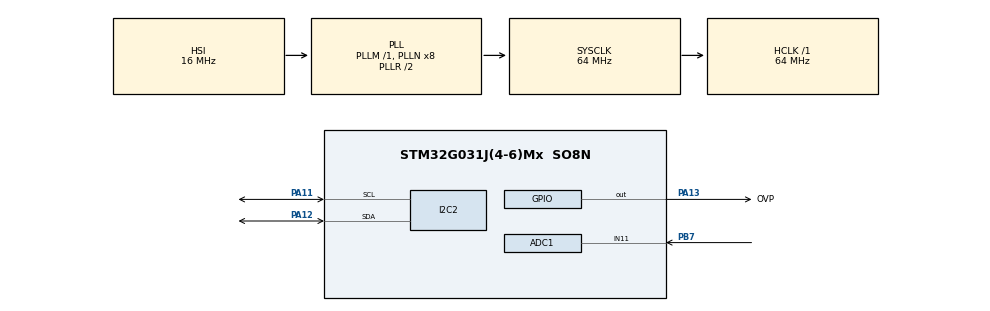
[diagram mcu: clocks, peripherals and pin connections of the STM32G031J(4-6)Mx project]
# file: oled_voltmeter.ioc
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ADC1.Channel-16\#ChannelRegularConversion=ADC_CHANNEL_11
ADC1.ContinuousConvMode=ENABLE
ADC1.DMAContinuousRequests=ENABLE
ADC1.NbrOfConversionFlag=1
ADC1.Rank-16\#ChannelRegularConversion=1
ADC1.SamplingTime-16\#ChannelRegularConversion=ADC_SAMPLINGTIME_COMMON_1
ADC1.SamplingTimeCommon1=ADC_SAMPLETIME_160CYCLES_5
ADC1.SelectedChannel=ADC_CHANNEL_11
ADC1.master=1
Dma.ADC1.0.Direction=DMA_PERIPH_TO_MEMORY
Dma.ADC1.0.EventEnable=DISABLE
Dma.ADC1.0.Instance=DMA1_Channel1
Dma.ADC1.0.MemDataAlignment=DMA_MDATAALIGN_HALFWORD
Dma.ADC1.0.MemInc=DMA_MINC_ENABLE
Dma.ADC1.0.Mode=DMA_CIRCULAR
Dma.ADC1.0.PeriphDataAlignment=DMA_PDATAALIGN_HALFWORD
Dma.ADC1.0.PeriphInc=DMA_PINC_DISABLE
Dma.ADC1.0.Polarity=HAL_DMAMUX_REQ_GEN_RISING
Dma.ADC1.0.Priority=DMA_PRIORITY_LOW
Dma.ADC1.0.RequestNumber=1
Dma.ADC1.0.SignalID=NONE
Dma.ADC1.0.SyncEnable=DISABLE
Dma.ADC1.0.SyncPolarity=HAL_DMAMUX_SYNC_NO_EVENT
Dma.ADC1.0.SyncRequestNumber=1
Dma.ADC1.0.SyncSignalID=NONE
Dma.Request0=ADC1
I2C2.Timing=0x10707DBC
Mcu.Family=STM32G0
Mcu.Name=STM32G031J(4-6)Mx
Mcu.Package=SO8N
NVIC.DMA1_Channel1_IRQn=true\:0\:0\:false\:false\:true\:false\:true
PA11\ [PA9].Mode=I2C
PA11\ [PA9].Signal=I2C2_SCL
PA12\ [PA10].Mode=I2C
PA12\ [PA10].Signal=I2C2_SDA
PA13.GPIO_Label=OVP
PA13.Signal=GPIO_Output
PB7.Mode=IN11
PB7.Signal=ADC1_IN11
ProjectManager.HeapSize=0x200
ProjectManager.StackSize=0x400
ProjectManager.TargetToolchain=STM32CubeIDE
RCC.ADCFreq_Value=64000000
RCC.AHBFreq_Value=64000000
RCC.CortexFreq_Value=64000000
RCC.EXTERNAL_CLOCK_VALUE=12288000
RCC.HCLKFreq_Value=64000000
RCC.HSE_VALUE=8000000
RCC.HSI_VALUE=16000000
RCC.LSE_VALUE=32768
RCC.SYSCLKFreq_VALUE=64000000
RCC.SYSCLKSource=RCC_SYSCLKSOURCE_PLLCLK
RCC.VCOOutputFreq_Value=128000000
board=custom

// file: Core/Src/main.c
/* USER CODE BEGIN Header */
/**
  ******************************************************************************
  * @file           : main.c
  * @brief          : Main program body
  ******************************************************************************
  * @attention
  *
  * Copyright (c) 2021 STMicroelectronics.
  * All rights reserved.
  *
  * This software is licensed under terms that can be found in the LICENSE file
  * in the root directory of this software component.
  * If no LICENSE file comes with this software, it is provided AS-IS.
  *
  ******************************************************************************
  */
/* USER CODE END Header */
#include "main.h"

/* USER CODE BEGIN Includes */
#include "ssd1306.h"

//#include <stdbool.h>
//#include <string.h>
#include "printf.h"

/* USER CODE END Includes */

/* USER CODE BEGIN PD */
#define ADC_BUF_LEN 64
#define VOLT_MULT_MV 6.0225757710425736 // measured at 5998mv
#define VOLT_RAW_A 1019.25 // measured at 5998mv
#define VOLT_RAW_B 2978.5 // measured at 17950mv

#define VOLT_SLOPE (5998 - 17950)/(VOLT_RAW_A - VOLT_RAW_B)
#define VOLT_OFFSET (5998 - VOLT_RAW_A*VOLT_SLOPE)

#define OVP_MV 16800.0f

#define SSD1306_INCLUDE_FONT_16x26
#define SSD1306_INCLUDE_FONT_11x18
#define SSD1306_INCLUDE_FONT_7x10
#define SSD1306_INCLUDE_FONT_6x8
/* USER CODE END PD */

ADC_HandleTypeDef hadc1;
DMA_HandleTypeDef hdma_adc1;

I2C_HandleTypeDef hi2c2;

/* USER CODE BEGIN PV */
uint16_t adc_buf[ADC_BUF_LEN];
double voltage_raw = 0;
double voltage_mv = 0;
uint8_t overvoltage_active = 0;

/* USER CODE END PV */

void SystemClock_Config(void);
static void MX_GPIO_Init(void);
static void MX_ADC1_Init(void);
static void MX_DMA_Init(void);
static void MX_I2C2_Init(void);

/* USER CODE BEGIN 0 */

/*
void test_oled() {
    uint8_t y = 0;
    ssd1306_Fill(Black);

    #ifdef SSD1306_INCLUDE_FONT_16x26
    ssd1306_SetCursor(2, y);
    ssd1306_WriteString("Font 16x26", Font_16x26, White);
    y += 26;
    #endif

    #ifdef SSD1306_INCLUDE_FONT_11x18
    ssd1306_SetCursor(2, y);
    ssd1306_WriteString("Font 11x18", Font_11x18, White);
    y += 18;
    #endif

    #ifdef SSD1306_INCLUDE_FONT_7x10
    ssd1306_SetCursor(2, y);
    ssd1306_WriteString("Font 7x10", Font_7x10, White);
    y += 10;
    #endif

    #ifdef SSD1306_INCLUDE_FONT_6x8
    ssd1306_SetCursor(2, y);
    ssd1306_WriteString("Font 6x8", Font_6x8, White);
    #endif

    ssd1306_UpdateScreen();
}
*/

double get_volt_mult(double v, double measured_ref)
{
	return (measured_ref / v);
}

/*
void mysprintf_mv(char * result, double value)
{
    //char result[100];
    int dVal, dec, i;

    int val = value+50;
    dVal = ((val % 1000) / 10);
    dec = val/1000;

    result[0] = (dVal /10) + '0';
    //result[1] = (dec / 10) + '0';
    result[1] = '.';

    i = 2;
    while(dec > 0){

        result[i] = (dec % 10) + '0';
        dec /= 10;
        i++;
    }

    // use for loop to iterate the string
   int temp;

   //reverse string
   int len = strlen(result);
   for (i = 0; i < len/2; i++)
   {
	   // temp variable use to temporary hold the string
	   temp = result[i];
	   result[i] = result[len - i - 1];
	   result[len - i - 1] = temp;
   }

   len = strlen(result);
   result[len] = ' ';
   result[len+1] = 'V';

}
*/

/* USER CODE END 0 */

int main(void)
{
  /* USER CODE BEGIN 1 */
	float voltage = 0;
  /* USER CODE END 1 */

  /* MCU Configuration--------------------------------------------------------*/

  /* Reset of all peripherals, Initializes the Flash interface and the Systick. */
  HAL_Init();

  /* Configure the system clock */
  SystemClock_Config();

  /* USER CODE BEGIN SysInit */
  MX_DMA_Init();
  /* USER CODE END SysInit */

  /* Initialize all configured peripherals */
  MX_GPIO_Init();
  MX_ADC1_Init();
  MX_DMA_Init();
  MX_I2C2_Init();
  /* USER CODE BEGIN 2 */
  //HAL_ADC_Start(&hadc1);
  HAL_ADC_Start_DMA(&hadc1, (uint32_t*)adc_buf, ADC_BUF_LEN);

  ssd1306_Init();
  //HAL_ADC_Start(&hadc1);
  /* USER CODE END 2 */

  /* Infinite loop */
  while (1)
  {

    /* USER CODE BEGIN 3 */
	  double volt_raw = voltage_raw;
	  //double volt = voltage_raw*volt_mult;
	  /*
	  HAL_StatusTypeDef res;
	  res = HAL_ADC_PollForConversion(&hadc1, 100);

	  if(res == HAL_OK)
	  {
		  voltage_adc = HAL_ADC_GetValue(&hadc1);
		  voltage_raw  = voltage_adc/4096;
		  voltage = voltage_raw * VOLT_MULT;
		  HAL_ADC_Start(&hadc1);
	  }
	  */

	  voltage = voltage_mv/1000.0;

	  char str[32];
	  //memset(str, 0, 32);
	  //mysprintf_mv(str, voltage_mv);

	  sprintf_(str, "%.2f V", voltage);
	  //gcvt(voltage, 3, str);

	  uint8_t y = 0;
	  ssd1306_Fill(Black);
	  ssd1306_SetCursor(2, y);
	  ssd1306_WriteString((char *)str, Font_16x26, White);
	  y += 26;

	  if(overvoltage_active)
	  {
		  ssd1306_SetCursor(2, y);
		  ssd1306_WriteString("OVERVOLTAGE", Font_11x18, White);

	  }
	  y += 26;

	 sprintf_(str, "OVP: %.2f V", OVP_MV/1000.0);
	 ssd1306_SetCursor(2, y);
	 ssd1306_WriteString((char *)str, Font_7x10, White);
	 y += 10;

	 // voltage_raw  = voltage_adc/4096;
	//  voltage = voltage_raw * VOLT_MULT;

	  //test_oled();
	  //ssd1306_WriteString("OVERVOLTAGE", Font_11x18, White);

	  ssd1306_UpdateScreen();
	  HAL_Delay(50);
  }
  /* USER CODE END 3 */
}

void SystemClock_Config(void)
{
  RCC_OscInitTypeDef RCC_OscInitStruct = {0};
  RCC_ClkInitTypeDef RCC_ClkInitStruct = {0};

  /** Configure the main internal regulator output voltage
  */
  HAL_PWREx_ControlVoltageScaling(PWR_REGULATOR_VOLTAGE_SCALE1);
  /** Initializes the RCC Oscillators according to the specified parameters
  * in the RCC_OscInitTypeDef structure.
  */
  RCC_OscInitStruct.OscillatorType = RCC_OSCILLATORTYPE_HSI;
  RCC_OscInitStruct.HSIState = RCC_HSI_ON;
  RCC_OscInitStruct.HSIDiv = RCC_HSI_DIV1;
  RCC_OscInitStruct.HSICalibrationValue = RCC_HSICALIBRATION_DEFAULT;
  RCC_OscInitStruct.PLL.PLLState = RCC_PLL_ON;
  RCC_OscInitStruct.PLL.PLLSource = RCC_PLLSOURCE_HSI;
  RCC_OscInitStruct.PLL.PLLM = RCC_PLLM_DIV1;
  RCC_OscInitStruct.PLL.PLLN = 8;
  RCC_OscInitStruct.PLL.PLLP = RCC_PLLP_DIV2;
  RCC_OscInitStruct.PLL.PLLQ = RCC_PLLQ_DIV2;
  RCC_OscInitStruct.PLL.PLLR = RCC_PLLR_DIV2;
  if (HAL_RCC_OscConfig(&RCC_OscInitStruct) != HAL_OK)
  {
    Error_Handler();
  }
  /** Initializes the CPU, AHB and APB buses clocks
  */
  RCC_ClkInitStruct.ClockType = RCC_CLOCKTYPE_HCLK|RCC_CLOCKTYPE_SYSCLK
                              |RCC_CLOCKTYPE_PCLK1;
  RCC_ClkInitStruct.SYSCLKSource = RCC_SYSCLKSOURCE_PLLCLK;
  RCC_ClkInitStruct.AHBCLKDivider = RCC_SYSCLK_DIV1;
  RCC_ClkInitStruct.APB1CLKDivider = RCC_HCLK_DIV1;

  if (HAL_RCC_ClockConfig(&RCC_ClkInitStruct, FLASH_LATENCY_2) != HAL_OK)
  {
    Error_Handler();
  }
}

static void MX_ADC1_Init(void)
{

  ADC_ChannelConfTypeDef sConfig = {0};

  /** Configure the global features of the ADC (Clock, Resolution, Data Alignment and number of conversion)
  */
  hadc1.Instance = ADC1;
  hadc1.Init.ClockPrescaler = ADC_CLOCK_SYNC_PCLK_DIV2;
  hadc1.Init.Resolution = ADC_RESOLUTION_12B;
  hadc1.Init.DataAlign = ADC_DATAALIGN_RIGHT;
  hadc1.Init.ScanConvMode = ADC_SCAN_DISABLE;
  hadc1.Init.EOCSelection = ADC_EOC_SINGLE_CONV;
  hadc1.Init.LowPowerAutoWait = DISABLE;
  hadc1.Init.LowPowerAutoPowerOff = DISABLE;
  hadc1.Init.ContinuousConvMode = ENABLE;
  hadc1.Init.NbrOfConversion = 1;
  hadc1.Init.DiscontinuousConvMode = DISABLE;
  hadc1.Init.ExternalTrigConv = ADC_SOFTWARE_START;
  hadc1.Init.ExternalTrigConvEdge = ADC_EXTERNALTRIGCONVEDGE_NONE;
  hadc1.Init.DMAContinuousRequests = ENABLE;
  hadc1.Init.Overrun = ADC_OVR_DATA_PRESERVED;
  hadc1.Init.SamplingTimeCommon1 = ADC_SAMPLETIME_160CYCLES_5;
  hadc1.Init.SamplingTimeCommon2 = ADC_SAMPLETIME_1CYCLE_5;
  hadc1.Init.OversamplingMode = DISABLE;
  hadc1.Init.TriggerFrequencyMode = ADC_TRIGGER_FREQ_HIGH;
  if (HAL_ADC_Init(&hadc1) != HAL_OK)
  {
    Error_Handler();
  }
  /** Configure Regular Channel
  */
  sConfig.Channel = ADC_CHANNEL_11;
  sConfig.Rank = ADC_REGULAR_RANK_1;
  sConfig.SamplingTime = ADC_SAMPLINGTIME_COMMON_1;
  if (HAL_ADC_ConfigChannel(&hadc1, &sConfig) != HAL_OK)
  {
    Error_Handler();
  }

}

static void MX_I2C2_Init(void)
{

  hi2c2.Instance = I2C2;
  hi2c2.Init.Timing = 0x10707DBC;
  hi2c2.Init.OwnAddress1 = 0;
  hi2c2.Init.AddressingMode = I2C_ADDRESSINGMODE_7BIT;
  hi2c2.Init.DualAddressMode = I2C_DUALADDRESS_DISABLE;
  hi2c2.Init.OwnAddress2 = 0;
  hi2c2.Init.OwnAddress2Masks = I2C_OA2_NOMASK;
  hi2c2.Init.GeneralCallMode = I2C_GENERALCALL_DISABLE;
  hi2c2.Init.NoStretchMode = I2C_NOSTRETCH_DISABLE;
  if (HAL_I2C_Init(&hi2c2) != HAL_OK)
  {
    Error_Handler();
  }
  /** Configure Analogue filter
  */
  if (HAL_I2CEx_ConfigAnalogFilter(&hi2c2, I2C_ANALOGFILTER_ENABLE) != HAL_OK)
  {
    Error_Handler();
  }
  /** Configure Digital filter
  */
  if (HAL_I2CEx_ConfigDigitalFilter(&hi2c2, 0) != HAL_OK)
  {
    Error_Handler();
  }

}

static void MX_DMA_Init(void)
{

  /* DMA controller clock enable */
  __HAL_RCC_DMA1_CLK_ENABLE();

  /* DMA interrupt init */
  /* DMA1_Channel1_IRQn interrupt configuration */
  HAL_NVIC_SetPriority(DMA1_Channel1_IRQn, 0, 0);
  HAL_NVIC_EnableIRQ(DMA1_Channel1_IRQn);

}

static void MX_GPIO_Init(void)
{
  GPIO_InitTypeDef GPIO_InitStruct = {0};

  /* GPIO Ports Clock Enable */
  __HAL_RCC_GPIOB_CLK_ENABLE();
  __HAL_RCC_GPIOA_CLK_ENABLE();

  /*Configure GPIO pin Output Level */
  HAL_GPIO_WritePin(OVP_GPIO_Port, OVP_Pin, GPIO_PIN_RESET);

  /*Configure GPIO pin : OVP_Pin */
  GPIO_InitStruct.Pin = OVP_Pin;
  GPIO_InitStruct.Mode = GPIO_MODE_OUTPUT_PP;
  GPIO_InitStruct.Pull = GPIO_NOPULL;
  GPIO_InitStruct.Speed = GPIO_SPEED_FREQ_LOW;
  HAL_GPIO_Init(OVP_GPIO_Port, &GPIO_InitStruct);

}

/* USER CODE BEGIN 4 */

// Called when first half of buffer is filled
void HAL_ADC_ConvHalfCpltCallback(ADC_HandleTypeDef* hadc) {

}

// Called when buffer is completely filled
void HAL_ADC_ConvCpltCallback(ADC_HandleTypeDef* hadc) {
uint32_t sum = 0;
for(uint16_t i = 0; i < ADC_BUF_LEN; i++)
{
	sum += adc_buf[i];
}

voltage_raw = sum / (double)ADC_BUF_LEN;
voltage_mv = (voltage_raw * VOLT_SLOPE) + VOLT_OFFSET;

if(voltage_mv > OVP_MV)
{
	HAL_GPIO_WritePin(OVP_GPIO_Port, OVP_Pin, GPIO_PIN_SET);
	overvoltage_active = 1;
}
else
{
	HAL_GPIO_WritePin(OVP_GPIO_Port, OVP_Pin, GPIO_PIN_RESET);
	overvoltage_active = 0;
}

}

/* USER CODE END 4 */

void Error_Handler(void)
{
  __disable_irq();
  while (1)
  {
  }
}
